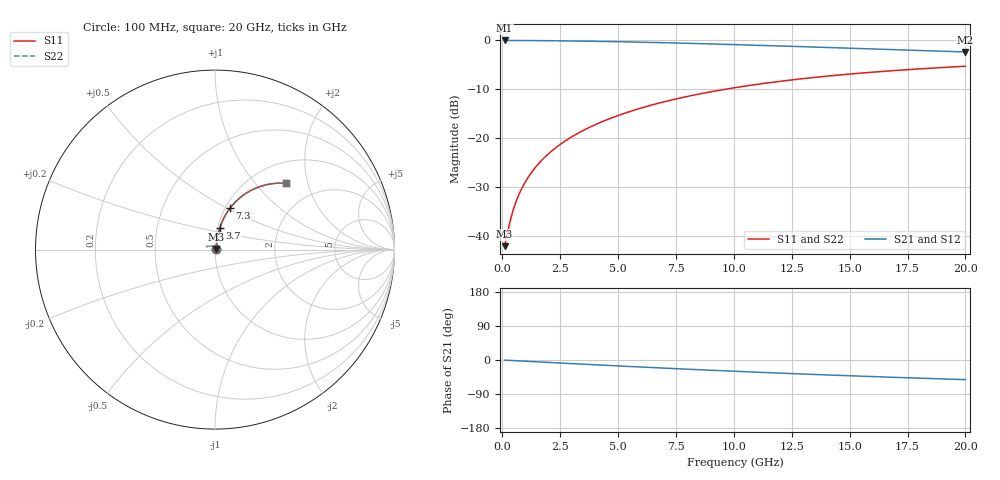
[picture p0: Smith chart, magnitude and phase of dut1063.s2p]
! Touchstone file exported from HFSS 2024.1.0
!  File:  C:/UserFiles/LocalFiles/RDL_TSV_Batchsim/temp_RDL_bottom_1063_1780052422.aedt
!  Generated:  07:02:54 PM May 29, 2026
!  Design:  RDL_bottom
!  Project:  temp_RDL_bottom_1063_1780052422
!  Setup:  Setup1
!  Solution:  Sweep
! Variables:
!  dtsv = 10.80580581um
!  hbump = 3um
!  htsv = 66.29um
!  ldown = 657.24um
!  lrdl = 100um
!  p = 40
!  p1 = 59.14um
!  rhole = 1um
!  t = 450um
!  tdown = 2.21um
!  trdl = 3.915915916um
!  wdown = 15.44um
!  wrdl = 20um
# GHz S MA R 50.000000
! Terminal data exported
! Port[1] = RDL1_T1
! Port[2] = RDL1_T2
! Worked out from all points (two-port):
!   200 points, 100 MHz to 20 GHz, reference 50 ohm
!   highest |S21| = -0.06 dB at 100 MHz (marker M1); lowest = -2.4 dB at 20 GHz (marker M2)
!   |S21| within 3 dB of the highest: start of sweep to end of sweep
!   lowest |S11| = -42.1 dB at 100 MHz (marker M3), VSWR 1.02, Z = 50.7 + j0.363 ohm
!   |S11| at or under -10 dB: start of sweep to 9.68 GHz
!   |S22| runs from -42.1 to -5.3 dB; largest |S21 - S12| = 8.9e-15
!   S11 on the Smith chart (normalised r, x): 100 MHz: 1.01, +0.01; 3.7 GHz: 1.02, +0.26; 7.3 GHz: 1.05, +0.51; 20 GHz: 1.41, +1.47
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0.1  0.007824 27.2  0.993 -0.3  0.993 -0.3  0.007824 27.2
! Gamma 0 0 0 0
! Port Impedance 50 0 50 0
0.3  0.0129 55.8  0.9928 -1.0  0.9928 -1.0  0.0129 55.8
0.4  0.01602 62.2  0.9926 -1.3  0.9926 -1.3  0.01602 62.2
0.5  0.01925 66.3  0.9923 -1.6  0.9923 -1.6  0.01925 66.3
0.6  0.02253 69.1  0.992 -2.0  0.992 -2.0  0.02253 69.1
0.7  0.02582 71.1  0.9918 -2.3  0.9918 -2.3  0.02582 71.1
0.9  0.03244 73.8  0.9912 -2.9  0.9912 -2.9  0.03244 73.9
1.2  0.04239 76.2  0.9902 -3.9  0.9902 -3.9  0.04239 76.2
1.4  0.04904 77.1  0.9894 -4.5  0.9894 -4.5  0.04904 77.1
1.7  0.05904 77.9  0.9882 -5.5  0.9882 -5.5  0.05905 77.9
2.2  0.07578 78.4  0.9859 -7.0  0.9859 -7.0  0.07578 78.4
2.8  0.09593 78.3  0.9824 -8.9  0.9824 -8.9  0.09593 78.3
3.5  0.1194 77.6  0.9775 -11.1  0.9775 -11.1  0.1195 77.6
3.7  0.1262 77.3  0.976 -11.7  0.976 -11.7  0.1262 77.3
5.1  0.1729 74.9  0.9633 -16.0  0.9633 -16.0  0.1729 74.9
6.8  0.2283 71.3  0.9442 -20.9  0.9442 -20.9  0.2284 71.3
7.3  0.2442 70.2  0.938 -22.3  0.938 -22.3  0.2443 70.2
8.6  0.2843 67.2  0.921 -25.9  0.921 -25.9  0.2844 67.2
10.1  0.3282 63.6  0.8999 -29.9  0.8999 -29.9  0.3283 63.7
13.4  0.414 56.1  0.8513 -38.0  0.8513 -38.0  0.4142 56.1
16.7  0.4846 49.2  0.8028 -45.3  0.8028 -45.3  0.4847 49.2
20  0.541 42.9  0.7572 -51.8  0.7572 -51.8  0.5411 42.9
